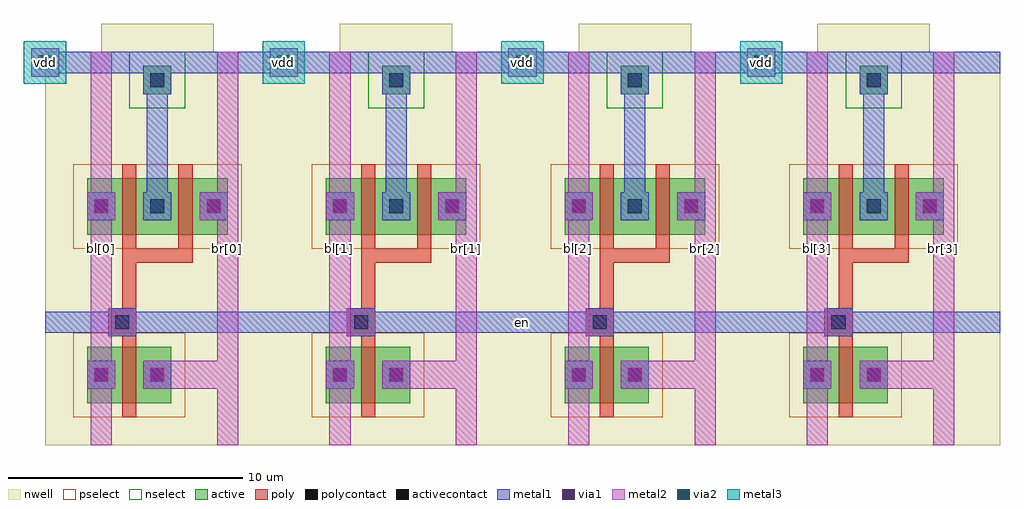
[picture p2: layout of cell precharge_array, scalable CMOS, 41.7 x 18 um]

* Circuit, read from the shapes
.subckt precharge_array bl[0] bl[1] bl[2] bl[3] br[0] br[1] br[2] br[3] en vdd
M1 br[0] en bl[0] vdd pfet w=2.4u l=0.6u
M2 vdd en bl[0] vdd pfet w=2.4u l=0.6u
M3 br[0] en vdd vdd pfet w=2.4u l=0.6u
M4 br[1] en bl[1] vdd pfet w=2.4u l=0.6u
M5 vdd en bl[1] vdd pfet w=2.4u l=0.6u
M6 br[1] en vdd vdd pfet w=2.4u l=0.6u
M7 br[2] en bl[2] vdd pfet w=2.4u l=0.6u
M8 vdd en bl[2] vdd pfet w=2.4u l=0.6u
M9 br[2] en vdd vdd pfet w=2.4u l=0.6u
M10 br[3] en bl[3] vdd pfet w=2.4u l=0.6u
M11 vdd en bl[3] vdd pfet w=2.4u l=0.6u
M12 br[3] en vdd vdd pfet w=2.4u l=0.6u
.ends

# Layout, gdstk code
from math import pi, radians
import gdstk
lib = gdstk.Library(unit=1e-6, precision=1e-09)
def R(c, l, rs):  # rectangles x0, y0, x1, y1
    for r in rs: c.add(gdstk.rectangle(r[:2], r[2:], *l))
def A(c, l, x, y, w, h, nx, ny, dx, dy):  # array of equal rectangles
    R(c, l, [(x+i*dx, y+j*dy, x+i*dx+w, y+j*dy+h) for i in range(nx) for j in range(ny)])
nwell = (42, 0)
active = (43, 0)
pselect = (44, 0)
nselect = (45, 0)
poly = (46, 0)
polycontact = (47, 0)
activecontact = (48, 0)
metal1 = (49, 0)
via1 = (50, 0)
metal2 = (51, 0)
via2 = (61, 0)
metal3 = (62, 0)

active_contact_metal1_1x = lib.new_cell('active_contact_metal1_1x1_pn')
R(active_contact_metal1_1x, nwell, [(-1.8,-1.8,3,3)])
R(active_contact_metal1_1x, active, [(0,0,1.2,1.2)])
R(active_contact_metal1_1x, pselect, [(-0.6,-0.6,1.8,1.8)])
R(active_contact_metal1_1x, activecontact, [(0.3,0.3,0.9,0.9)])
R(active_contact_metal1_1x, metal1, [(0,0,1.2,1.2)])

pmos_m1_w2_4 = lib.new_cell('pmos_m1_w2_4')
R(pmos_m1_w2_4, nwell, [(-1.8,-1.8,5.4,4.2)])
R(pmos_m1_w2_4, active, [(0,0,3.6,2.4)])
R(pmos_m1_w2_4, pselect, [(-0.6,-0.6,4.2,3)])
R(pmos_m1_w2_4, poly, [(1.5,-0.6,2.1,3), (1.5,-0.6,2.1,3)])
R(pmos_m1_w2_4, metal1, [(0,0.6,1.2,1.8), (2.4,0.6,3.6,1.8)])
pmos_m1_w2_4.add(gdstk.Reference(active_contact_metal1_1x, (0,0.6)))
pmos_m1_w2_4.add(gdstk.Reference(active_contact_metal1_1x, (2.4,0.6)))
pmos_m1_w2_4.add(gdstk.Label('G', (1.8,1.2), layer=46, texttype=0))
pmos_m1_w2_4.add(gdstk.Label('S', (0.6,1.2), layer=49, texttype=0))
pmos_m1_w2_4.add(gdstk.Label('D', (3,1.2), layer=49, texttype=0))

poly_contact_metal1_1x1 = lib.new_cell('poly_contact_metal1_1x1')
R(poly_contact_metal1_1x1, poly, [(0,0,1.2,1.2)])
R(poly_contact_metal1_1x1, polycontact, [(0.3,0.3,0.9,0.9)])
R(poly_contact_metal1_1x1, metal1, [(0,0,1.2,1.2)])

c_active_contact_metal1_1x = lib.new_cell('active_contact_metal1_1x1_nn')
R(c_active_contact_metal1_1x, nwell, [(-1.8,-1.8,3,3)])
R(c_active_contact_metal1_1x, active, [(0,0,1.2,1.2)])
R(c_active_contact_metal1_1x, nselect, [(-0.6,-0.6,1.8,1.8)])
R(c_active_contact_metal1_1x, activecontact, [(0.3,0.3,0.9,0.9)])
R(c_active_contact_metal1_1x, metal1, [(0,0,1.2,1.2)])

metal1_via1_metal2_1x1 = lib.new_cell('metal1_via1_metal2_1x1')
R(metal1_via1_metal2_1x1, metal1, [(0,0,1.2,1.2)])
R(metal1_via1_metal2_1x1, via1, [(0.3,0.3,0.9,0.9)])
R(metal1_via1_metal2_1x1, metal2, [(0,0,1.2,1.2)])

metal2_via2_metal3_1x1 = lib.new_cell('metal2_via2_metal3_1x1')
R(metal2_via2_metal3_1x1, metal2, [(0.3,0.3,1.5,1.5)])
R(metal2_via2_metal3_1x1, via2, [(0.6,0.6,1.2,1.2)])
R(metal2_via2_metal3_1x1, metal3, [(0,0,1.8,1.8)])

precharge = lib.new_cell('precharge')
R(precharge, nwell, [(0,0,10.2,16.8)])
R(precharge, poly, [(3.3,1.2,3.9,8.4), (3.3,7.8,6.3,8.4)])
R(precharge, metal1, [(0,4.8,10.2,5.7), (4.35,10.8,5.25,16.35), (0,15.9,10.2,16.8)])
R(precharge, metal2, [(1.95,0,2.85,16.8), (7.35,0,8.25,16.8), (1.8,2.4,3,3.6), (4.2,2.4,8.25,3.6), (1.8,9.6,3,10.8), (6.6,9.6,8.25,10.8)])
R(precharge, metal3, [(-0.75,15.6,0.75,17.1)])
precharge.add(gdstk.Reference(pmos_m1_w2_4, (1.8,1.8)))
precharge.add(gdstk.Reference(pmos_m1_w2_4, (1.8,9)))
precharge.add(gdstk.Reference(pmos_m1_w2_4, (4.2,9)))
precharge.add(gdstk.Reference(poly_contact_metal1_1x1, (3.9,4.65), rotation=pi/2))
precharge.add(gdstk.Reference(c_active_contact_metal1_1x, (4.2,15)))
precharge.add(gdstk.Reference(metal1_via1_metal2_1x1, (-0.6,15.75)))
precharge.add(gdstk.Reference(metal2_via2_metal3_1x1, (-0.9,15.45)))
precharge.add(gdstk.Reference(metal1_via1_metal2_1x1, (1.8,2.4)))
precharge.add(gdstk.Reference(metal1_via1_metal2_1x1, (4.2,2.4)))
precharge.add(gdstk.Reference(metal1_via1_metal2_1x1, (1.8,9.6)))
precharge.add(gdstk.Reference(metal1_via1_metal2_1x1, (6.6,9.6)))
precharge.add(gdstk.Label('en', (5.1,5.25), layer=49, texttype=0))
precharge.add(gdstk.Label('vdd', (0,16.35), layer=62, texttype=0))
precharge.add(gdstk.Label('bl', (2.4,8.4), layer=51, texttype=0))
precharge.add(gdstk.Label('br', (7.8,8.4), layer=51, texttype=0))

precharge_array = lib.new_cell('precharge_array')
R(precharge_array, metal1, [(0,4.8,40.8,5.7)])
R(precharge_array, metal2, [(1.95,0,2.85,16.8), (7.35,0,8.25,16.8), (12.15,0,13.05,16.8), (17.55,0,18.45,16.8), (22.35,0,23.25,16.8), (27.75,0,28.65,16.8), (32.55,0,33.45,16.8), (37.95,0,38.85,16.8)])
A(precharge_array, metal3, -0.75, 15.6, 1.5, 1.5, 4, 1, 10.2, 0)
precharge_array.add(gdstk.Reference(precharge, (0,0)))
precharge_array.add(gdstk.Reference(precharge, (10.2,0)))
precharge_array.add(gdstk.Reference(precharge, (20.4,0)))
precharge_array.add(gdstk.Reference(precharge, (30.6,0)))
precharge_array.add(gdstk.Label('bl[0]', (2.4,8.4), layer=51, texttype=0))
precharge_array.add(gdstk.Label('br[0]', (7.8,8.4), layer=51, texttype=0))
precharge_array.add(gdstk.Label('bl[1]', (12.6,8.4), layer=51, texttype=0))
precharge_array.add(gdstk.Label('br[1]', (18,8.4), layer=51, texttype=0))
precharge_array.add(gdstk.Label('bl[2]', (22.8,8.4), layer=51, texttype=0))
precharge_array.add(gdstk.Label('br[2]', (28.2,8.4), layer=51, texttype=0))
precharge_array.add(gdstk.Label('bl[3]', (33,8.4), layer=51, texttype=0))
precharge_array.add(gdstk.Label('br[3]', (38.4,8.4), layer=51, texttype=0))
precharge_array.add(gdstk.Label('en', (20.4,5.25), layer=49, texttype=0))
precharge_array.add(gdstk.Label('vdd', (0,16.35), layer=62, texttype=0))
precharge_array.add(gdstk.Label('vdd', (10.2,16.35), layer=62, texttype=0))
precharge_array.add(gdstk.Label('vdd', (20.4,16.35), layer=62, texttype=0))
precharge_array.add(gdstk.Label('vdd', (30.6,16.35), layer=62, texttype=0))

lib.write_gds('precharge_array.gds')
